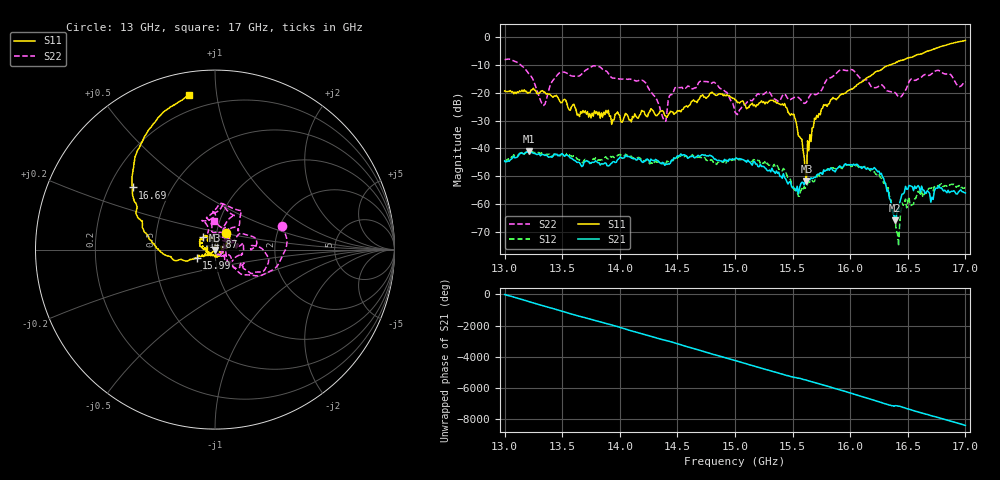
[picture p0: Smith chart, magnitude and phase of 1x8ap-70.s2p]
!Keysight Technologies,P9374A,MY57211807,A.19.30.04
!Date: Friday, May 08, 2026 15:48:04
!Correction: S11(C  2-Port  )
!S21(C  2-Port  )
!S12(C  2-Port  )
!S22(C  2-Port  )
!S2P File: Measurements: S11, S21, S12, S22:
# Hz S  dB  R 50
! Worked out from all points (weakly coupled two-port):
!   401 points, 13 GHz to 17 GHz, reference 50 ohm
!   highest |S21| = -40.91 dB at 13.21 GHz (marker M1); lowest = -65.8 dB at 16.39 GHz (marker M2)
!   lowest |S11| = -51.8 dB at 15.62 GHz (marker M3), VSWR 1.01, Z = 50 - j0.256 ohm
!   |S11| at or under -10 dB: start of sweep to 16.35 GHz
!   |S22| runs from -30.3 to -7.9 dB; largest |S21 - S12| = 0.0028
!   S11 on the Smith chart (normalised r, x): 13 GHz: 1.11, +0.20; 14.87 GHz: 0.87, +0.13; 15.99 GHz: 0.81, -0.08; 16.69 GHz: 0.30, +0.31; 17 GHz: 0.12, +0.84
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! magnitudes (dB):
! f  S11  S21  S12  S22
! 13 GHz  -19.3  -44.5  -44.9  -8.1
! 13.21 GHz  -19.9  -40.9  -40.9  -13.1
! 13.34 GHz  -19.7  -42.3  -42.1  -24.5
! 13.47 GHz  -22.3  -42.6  -42.5  -13.0
! 13.67 GHz  -27.3  -46.5  -44.9  -13.3
! 14.2 GHz  -26.7  -45.0  -44.7  -15.6
! 14.34 GHz  -27.4  -44.8  -44.6  -24.3
! 14.38 GHz  -26.8  -45.3  -45.1  -29.5
! 14.49 GHz  -27.1  -43.3  -43.7  -18.0
! 14.87 GHz  -20.3  -44.5  -44.8  -18.4
! 15 GHz  -22.6  -43.7  -44.2  -27.0
! 15.43 GHz  -23.8  -50.5  -47.7  -20.4
! 15.54 GHz  -32.6  -53.6  -55.8  -21.5
! 15.62 GHz  -51.8  -51.0  -53.5  -23.3
! 15.67 GHz  -32.5  -50.9  -51.6  -20.4
! 15.99 GHz  -19.0  -45.8  -46.6  -11.9
! 16.23 GHz  -12.3  -47.9  -49.5  -18.0
! 16.34 GHz  -10.0  -57.9  -57.0  -19.5
! 16.39 GHz  -9.3  -65.8  -64.7  -19.9
! 16.5 GHz  -7.4  -54.6  -59.1  -17.3
! 16.69 GHz  -4.8  -56.2  -54.2  -13.7
! 17 GHz  -1.2  -56.0  -53.7  -16.1
